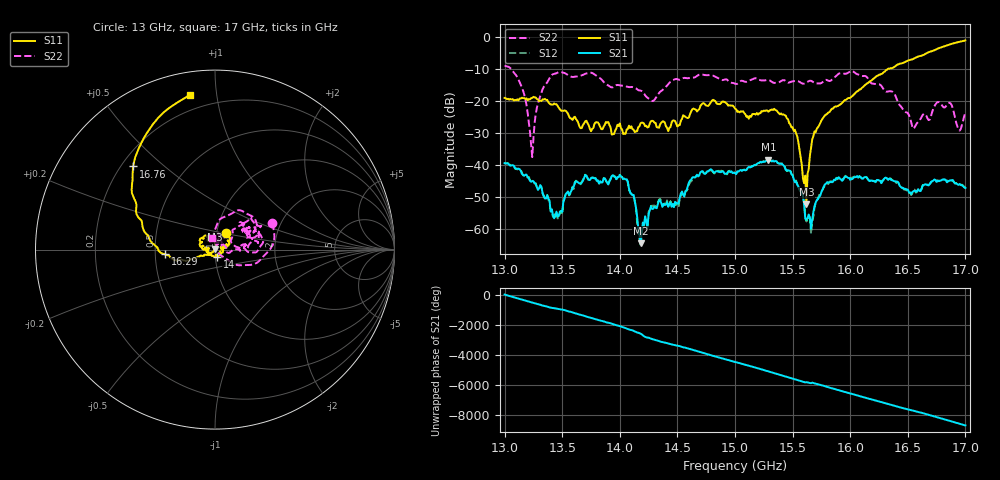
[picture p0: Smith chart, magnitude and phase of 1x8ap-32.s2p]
!Keysight Technologies,P9374A,MY57211807,A.19.30.04
!Date: Friday, May 08, 2026 15:44:12
!Correction: S11(C  2-Port  )
!S21(C  2-Port  )
!S12(C  2-Port  )
!S22(C  2-Port  )
!S2P File: Measurements: S11, S21, S12, S22:
# Hz S  dB  R 50
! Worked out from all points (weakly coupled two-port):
!   401 points, 13 GHz to 17 GHz, reference 50 ohm
!   highest |S21| = -38.44 dB at 15.29 GHz (marker M1); lowest = -64.6 dB at 14.18 GHz (marker M2)
!   lowest |S11| = -52.4 dB at 15.62 GHz (marker M3), VSWR 1.00, Z = 49.8 + j0.178 ohm
!   |S11| at or under -10 dB: start of sweep to 16.34 GHz
!   |S22| runs from -37.7 to -9.1 dB; largest |S21 - S12| = 0.00073
!   S11 on the Smith chart (normalised r, x): 13 GHz: 1.11, +0.21; 14 GHz: 1.02, -0.09; 16.29 GHz: 0.57, -0.03; 16.76 GHz: 0.25, +0.40; 17 GHz: 0.12, +0.84
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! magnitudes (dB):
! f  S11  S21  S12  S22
! 13 GHz  -19.2  -39.6  -39.7  -9.1
! 13.15 GHz  -19.1  -42.9  -42.5  -15.9
! 13.24 GHz  -19.2  -45.1  -45.4  -37.7
! 13.3 GHz  -20.1  -47.4  -47.3  -19.6
! 13.4 GHz  -21.2  -54.7  -54.5  -12.4
! 13.67 GHz  -28.6  -45.6  -45.3  -12.1
! 14 GHz  -27.1  -43.2  -43.2  -15.2
! 14.12 GHz  -29.1  -49.5  -49.5  -15.8
! 14.18 GHz  -27.1  -64.6  -65.5  -16.9
! 14.34 GHz  -28.5  -51.2  -51.0  -17.6
! 15 GHz  -22.5  -42.7  -42.6  -14.7
! 15.29 GHz  -23.5  -38.4  -38.5  -13.5
! 15.52 GHz  -29.1  -45.5  -45.1  -13.9
! 15.62 GHz  -52.4  -57.2  -57.8  -14.3
! 15.67 GHz  -32.2  -57.2  -57.9  -14.0
! 15.84 GHz  -22.5  -45.5  -45.3  -13.5
! 16.29 GHz  -11.1  -44.6  -44.7  -16.5
! 16.34 GHz  -10.0  -44.4  -44.5  -17.1
! 16.55 GHz  -6.9  -48.3  -48.0  -28.8
! 16.76 GHz  -3.7  -45.1  -44.9  -20.4
! 16.94 GHz  -1.7  -46.3  -46.2  -28.9
! 17 GHz  -1.2  -47.3  -47.3  -23.7
